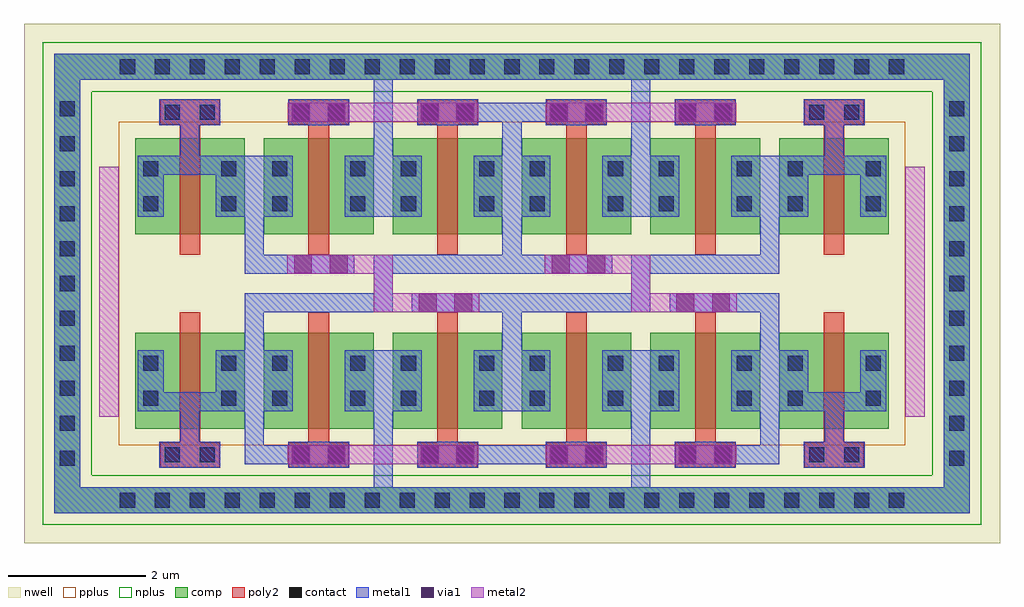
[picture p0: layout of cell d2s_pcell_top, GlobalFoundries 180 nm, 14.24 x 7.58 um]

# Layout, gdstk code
from math import pi, radians
import gdstk
lib = gdstk.Library(unit=1e-6, precision=5e-09)
def R(c, l, rs):  # rectangles x0, y0, x1, y1
    for r in rs: c.add(gdstk.rectangle(r[:2], r[2:], *l))
def A(c, l, x, y, w, h, nx, ny, dx, dy):  # array of equal rectangles
    R(c, l, [(x+i*dx, y+j*dy, x+i*dx+w, y+j*dy+h) for i in range(nx) for j in range(ny)])
nwell = (21, 0)
comp = (22, 0)
poly2 = (30, 0)
pplus = (31, 0)
nplus = (32, 0)
contact = (33, 0)
metal1 = (34, 0)
via1 = (35, 0)
metal2 = (36, 0)

d2s_pcell_1_1 = lib.new_cell('d2s_pcell_1$1')
R(d2s_pcell_1_1, comp, [(0,0.3,0.46,1.7), (0.46,0.3,1.14,1.7), (1.14,0.3,1.6,1.7)])
R(d2s_pcell_1_1, poly2, [(0.65,0,0.95,2)])
R(d2s_pcell_1_1, contact, [(0.12,0.635,0.34,0.855), (1.26,0.635,1.48,0.855), (0.12,1.145,0.34,1.365), (1.26,1.145,1.48,1.365)])
R(d2s_pcell_1_1, metal1, [(0.04,0.555,0.42,1.445), (1.18,0.555,1.56,1.445)])

d2s_pcell_4 = lib.new_cell('d2s_pcell_4')
A(d2s_pcell_4, poly2, 0.365, 1.9, 0.87, 0.36, 6, 1, 1.88, 0)
R(d2s_pcell_4, contact, [(0.435,1.97,0.655,2.19), (0.945,1.97,1.165,2.19), (2.315,1.97,2.535,2.19), (2.825,1.97,3.045,2.19), (4.195,1.97,4.415,2.19), (4.705,1.97,4.925,2.19), (6.075,1.97,6.295,2.19), (6.585,1.97,6.805,2.19), (7.955,1.97,8.175,2.19), (8.465,1.97,8.685,2.19), (9.835,1.97,10.055,2.19), (10.345,1.97,10.565,2.19)])
A(d2s_pcell_4, metal1, 1.56, 0.555, 0.36, 0.89, 5, 1, 1.88, 0)
A(d2s_pcell_4, metal1, 0.355, 1.89, 0.89, 0.38, 6, 1, 1.88, 0)
R(d2s_pcell_4, via1, [(2.29,1.95,2.55,2.21), (2.81,1.95,3.07,2.21), (4.17,1.95,4.43,2.21), (4.69,1.95,4.95,2.21), (6.05,1.95,6.31,2.21), (6.57,1.95,6.83,2.21), (7.93,1.95,8.19,2.21), (8.45,1.95,8.71,2.21)])
d2s_pcell_4.add(gdstk.FlexPath([(10.2,1.89),(10.2,1.445)], 0.28, ends="flush", simple_path=True, layer=34, datatype=0))  # metal1
d2s_pcell_4.add(gdstk.FlexPath([(9.82,1.305),(10.58,1.305)], 0.28, ends="flush", simple_path=True, layer=34, datatype=0))  # metal1
d2s_pcell_4.add(gdstk.FlexPath([(0.8,1.89),(0.8,1.445)], 0.28, ends="flush", simple_path=True, layer=34, datatype=0))  # metal1
d2s_pcell_4.add(gdstk.FlexPath([(1.18,1.305),(0.42,1.305)], 0.28, ends="flush", simple_path=True, layer=34, datatype=0))  # metal1
d2s_pcell_4.add(gdstk.FlexPath([(5.01,2.08),(2.23,2.08)], 0.28, ends="flush", simple_path=True, layer=36, datatype=0))  # metal2
d2s_pcell_4.add(gdstk.FlexPath([(8.77,2.08),(5.99,2.08)], 0.28, ends="flush", simple_path=True, layer=36, datatype=0))  # metal2
d2s_pcell_4.add(gdstk.Reference(d2s_pcell_1_1, (1.88,0)))
d2s_pcell_4.add(gdstk.Reference(d2s_pcell_1_1, (3.76,0)))
d2s_pcell_4.add(gdstk.Reference(d2s_pcell_1_1, (5.64,0)))
d2s_pcell_4.add(gdstk.Reference(d2s_pcell_1_1, (7.52,0)))
d2s_pcell_4.add(gdstk.Reference(d2s_pcell_1_1, (9.4,0)))
d2s_pcell_4.add(gdstk.Reference(d2s_pcell_1_1, (1.6,0), rotation=pi, x_reflection=True))

d2s_pcell_top = lib.new_cell('d2s_pcell_top')
R(d2s_pcell_top, nwell, [(0,0,14.24,7.58)])
R(d2s_pcell_top, pplus, [(1.38,1.43,12.86,6.15)])
A(d2s_pcell_top, contact, 1.4, 0.52, 0.22, 0.22, 23, 2, 0.51, 6.32)
A(d2s_pcell_top, contact, 0.52, 1.13, 0.22, 0.22, 1, 11, 0, 0.51)
A(d2s_pcell_top, contact, 13.5, 1.13, 0.22, 0.22, 1, 11, 0, 0.51)
R(d2s_pcell_top, via1, [(5.76,3.38,6.02,3.64), (6.28,3.38,6.54,3.64), (9.52,3.38,9.78,3.64), (10.04,3.38,10.3,3.64), (3.94,3.94,4.2,4.2), (4.46,3.94,4.72,4.2), (7.7,3.94,7.96,4.2), (8.22,3.94,8.48,4.2)])
d2s_pcell_top.add(gdstk.FlexPath([(13.61,7.14),(13.61,0.63),(0.63,0.63),(0.63,6.95),(13.42,6.95)], 0.38, ends="flush", simple_path=True, layer=34, datatype=0))  # metal1
d2s_pcell_top.add(gdstk.FlexPath([(10.88,4.765),(10.88,4.21)], 0.28, ends="flush", simple_path=True, layer=34, datatype=0))  # metal1
d2s_pcell_top.add(gdstk.FlexPath([(7.12,4.765),(7.12,4.21)], 0.28, ends="flush", simple_path=True, layer=34, datatype=0))  # metal1
d2s_pcell_top.add(gdstk.FlexPath([(3.36,4.765),(3.36,4.21)], 0.28, ends="flush", simple_path=True, layer=34, datatype=0))  # metal1
d2s_pcell_top.add(gdstk.FlexPath([(6.64,4.07),(5.24,4.07),(5.24,3.51),(3.84,3.51)], 0.28, ends="flush", simple_path=True, layer=34, datatype=0))  # metal1
d2s_pcell_top.add(gdstk.FlexPath([(4.82,4.07),(3.84,4.07)], 0.28, ends="flush", simple_path=True, layer=34, datatype=0))  # metal1
d2s_pcell_top.add(gdstk.FlexPath([(6.64,3.51),(5.66,3.51)], 0.28, ends="flush", simple_path=True, layer=34, datatype=0))  # metal1
d2s_pcell_top.add(gdstk.FlexPath([(6.64,4.07),(7.6,4.07)], 0.28, ends="flush", simple_path=True, layer=34, datatype=0))  # metal1
d2s_pcell_top.add(gdstk.FlexPath([(6.64,3.51),(7.6,3.51)], 0.28, ends="flush", simple_path=True, layer=34, datatype=0))  # metal1
d2s_pcell_top.add(gdstk.FlexPath([(3.84,4.07),(3.22,4.07)], 0.28, ends="flush", simple_path=True, layer=34, datatype=0))  # metal1
d2s_pcell_top.add(gdstk.FlexPath([(3.84,3.51),(3.22,3.51)], 0.28, ends="flush", simple_path=True, layer=34, datatype=0))  # metal1
d2s_pcell_top.add(gdstk.FlexPath([(7.12,4.765),(7.12,4.21)], 0.28, ends="flush", simple_path=True, layer=34, datatype=0))  # metal1
d2s_pcell_top.add(gdstk.FlexPath([(10.4,4.07),(9,4.07),(9,3.51),(7.6,3.51)], 0.28, ends="flush", simple_path=True, layer=34, datatype=0))  # metal1
d2s_pcell_top.add(gdstk.FlexPath([(7.12,5.655),(7.12,6.15)], 0.28, ends="flush", simple_path=True, layer=34, datatype=0))  # metal1
d2s_pcell_top.add(gdstk.FlexPath([(10.385,1.29),(10.88,1.29),(10.88,1.925)], 0.28, ends="flush", simple_path=True, layer=34, datatype=0))  # metal1
d2s_pcell_top.add(gdstk.FlexPath([(3.855,1.29),(3.36,1.29),(3.36,1.925)], 0.28, ends="flush", simple_path=True, layer=34, datatype=0))  # metal1
d2s_pcell_top.add(gdstk.FlexPath([(8.58,4.07),(7.6,4.07)], 0.28, ends="flush", simple_path=True, layer=34, datatype=0))  # metal1
d2s_pcell_top.add(gdstk.FlexPath([(10.4,3.51),(9.42,3.51)], 0.28, ends="flush", simple_path=True, layer=34, datatype=0))  # metal1
d2s_pcell_top.add(gdstk.FlexPath([(11.02,4.07),(10.4,4.07)], 0.28, ends="flush", simple_path=True, layer=34, datatype=0))  # metal1
d2s_pcell_top.add(gdstk.FlexPath([(11.02,3.51),(10.4,3.51)], 0.28, ends="flush", simple_path=True, layer=34, datatype=0))  # metal1
d2s_pcell_top.add(gdstk.FlexPath([(10.88,3.37),(10.88,2.815)], 0.28, ends="flush", simple_path=True, layer=34, datatype=0))  # metal1
d2s_pcell_top.add(gdstk.FlexPath([(7.12,3.37),(7.12,2.815)], 0.28, ends="flush", simple_path=True, layer=34, datatype=0))  # metal1
d2s_pcell_top.add(gdstk.FlexPath([(3.36,3.37),(3.36,2.815)], 0.28, ends="flush", simple_path=True, layer=34, datatype=0))  # metal1
d2s_pcell_top.add(gdstk.FlexPath([(7.12,3.37),(7.12,2.815)], 0.28, ends="flush", simple_path=True, layer=34, datatype=0))  # metal1
d2s_pcell_top.add(gdstk.FlexPath([(7.615,6.29),(6.625,6.29)], 0.28, ends="flush", simple_path=True, layer=34, datatype=0))  # metal1
d2s_pcell_top.add(gdstk.FlexPath([(7.615,1.29),(6.625,1.29)], 0.28, ends="flush", simple_path=True, layer=34, datatype=0))  # metal1
d2s_pcell_top.add(gdstk.FlexPath([(5.24,1.925),(5.24,0.82)], 0.28, ends="flush", simple_path=True, layer=34, datatype=0))  # metal1
d2s_pcell_top.add(gdstk.FlexPath([(9,1.925),(9,0.82)], 0.28, ends="flush", simple_path=True, layer=34, datatype=0))  # metal1
d2s_pcell_top.add(gdstk.FlexPath([(5.24,6.76),(5.24,5.655)], 0.28, ends="flush", simple_path=True, layer=34, datatype=0))  # metal1
d2s_pcell_top.add(gdstk.FlexPath([(9,6.76),(9,5.655)], 0.28, ends="flush", simple_path=True, layer=34, datatype=0))  # metal1
d2s_pcell_top.add(gdstk.FlexPath([(13.61,7.14),(13.61,0.63),(0.63,0.63),(0.63,6.95),(13.42,6.95)], 0.38, ends="flush", simple_path=True, layer=22, datatype=0))  # comp
d2s_pcell_top.add(gdstk.FlexPath([(10.4,3.51),(9,3.51),(9,4.07),(7.6,4.07)], 0.28, ends="flush", simple_path=True, layer=36, datatype=0))  # metal2
d2s_pcell_top.add(gdstk.FlexPath([(6.64,3.51),(5.24,3.51),(5.24,4.07),(3.84,4.07)], 0.28, ends="flush", simple_path=True, layer=36, datatype=0))  # metal2
d2s_pcell_top.add(gdstk.FlexPath([(13,5.495),(13,1.845)], 0.28, ends="flush", simple_path=True, layer=36, datatype=0))  # metal2
d2s_pcell_top.add(gdstk.FlexPath([(1.24,5.495),(1.24,1.845)], 0.28, ends="flush", simple_path=True, layer=36, datatype=0))  # metal2
d2s_pcell_top.add(gdstk.FlexPath([(13.61,7.31),(13.61,0.63),(0.63,0.63),(0.63,6.95),(13.97,6.95)], 0.72, ends="flush", simple_path=True, layer=32, datatype=0))  # nplus
d2s_pcell_top.add(gdstk.Reference(d2s_pcell_4, (1.62,4.21)))
d2s_pcell_top.add(gdstk.Reference(d2s_pcell_4, (1.62,3.37), x_reflection=True))
d2s_pcell_top.add(gdstk.Label('AVDD', (18.785,19.93), layer=34, texttype=10))
d2s_pcell_top.add(gdstk.Label('VBP', (23.985,14.04), layer=34, texttype=10))
d2s_pcell_top.add(gdstk.Label('VOP', (44.575,16.99), layer=36, texttype=10))
d2s_pcell_top.add(gdstk.Label('VON', (45.135,17.03), layer=36, texttype=10))

lib.write_gds('d2s_pcell_top.gds')
